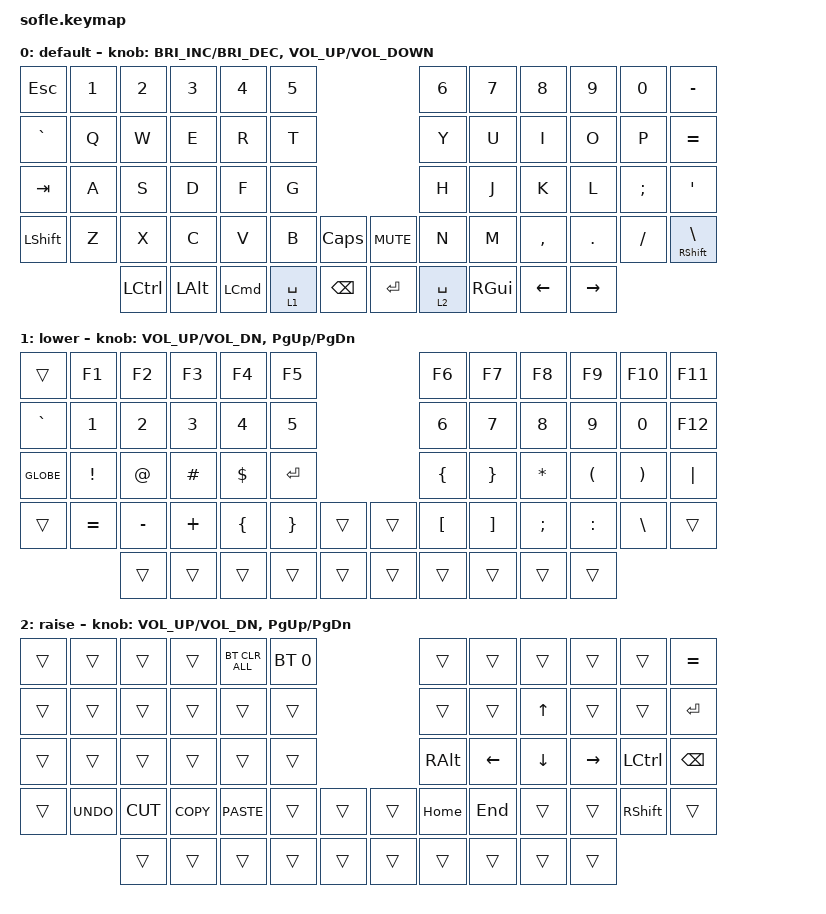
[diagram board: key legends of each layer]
/*
 * Copyright (c) 2020 The ZMK Contributors
 *
 * SPDX-License-Identifier: MIT
 */

#include <behaviors.dtsi>
#include <dt-bindings/zmk/bt.h>
#include <dt-bindings/zmk/keys.h>

#define BASE 0
#define LOWER 1
#define RAISE 2
#define ADJUST 3

/ {
    // Activate ADJUST layer by pressing raise and lower

    conditional_layers {
        compatible = "zmk,conditional-layers";

        adjust_layer {
            if-layers = <1 2>;
            then-layer = <3>;
        };
    };

    keymap {
        compatible = "zmk,keymap";

        default_layer {
            display-name = "default";

            // ------------------------------------------------------------------------------------------------------------
            // |   `   |  1  |  2  |  3   |  4   |  5   |                   |  6   |  7    |  8    |  9   |   0   |       |
            // |  ESC  |  Q  |  W  |  E   |  R   |  T   |                   |  Y   |  U    |  I    |  O   |   P   | BKSPC |
            // |  TAB  |  A  |  S  |  D   |  F   |  G   |                   |  H   |  J    |  K    |  L   |   ;   |   '   |
            // | SHIFT |  Z  |  X  |  C   |  V   |  B   |  MUTE  |  |       |  N   |  M    |  ,    |  .   |   /   | SHIFT |
            //               | GUI | ALT  | CTRL | LOWER|  ENTER |  | SPACE | RAISE| CTRL  | ALT   | GUI  |

            bindings = <
&kp ESC    &kp N1  &kp N2     &kp N3    &kp N4            &kp N5                                    &kp N6       &kp N7    &kp N8     &kp N9     &kp N0    &kp MINUS
&kp GRAVE  &kp Q   &kp W      &kp E     &kp R             &kp T                                     &kp Y        &kp U     &kp I      &kp O      &kp P     &kp EQUAL
&kp TAB    &kp A   &kp S      &kp D     &kp F             &kp G                                     &kp H        &kp J     &kp K      &kp L      &kp SEMI  &kp SQT
&kp LSHFT  &kp Z   &kp X      &kp C     &kp V             &kp B        &kp CAPSLOCK     &kp C_MUTE  &kp N        &kp M     &kp COMMA  &kp DOT    &kp FSLH  &mt RSHFT BACKSLASH
                   &kp LCTRL  &kp LALT  &kp LEFT_COMMAND  &lt 1 SPACE  &kp BACKSPACE    &kp ENTER   &lt 2 SPACE  &kp RGUI  &kp LEFT   &kp RIGHT
            >;

            sensor-bindings =
                <&inc_dec_kp C_BRIGHTNESS_INC C_BRIGHTNESS_DEC>,
                <&inc_dec_kp C_VOLUME_UP C_VOLUME_DOWN>;
        };

        lower_layer {
            display-name = "lower";

            // TODO: Some binds are waiting for shifted keycode support.
            // ------------------------------------------------------------------------------------------------------------
            // |       |  F1 |  F2 |  F3  |  F4  |  F5  |                   |  F6  |  F7   |  F8   |  F9  |  F10  |  F11  |
            // |   `   |  1  |  2  |  3   |  4   |  5   |                   |  6   |  7    |  8    |  9   |   0   |  F12  |
            // |       |  !  |  @  |  #   |  $   |  %   |                   |  ^   |  &    |  *    |  (   |   )   |   |   |
            // |       |  =  |  -  |  +   |  {   |  }   |        |  |       |  [   |  ]    |  ;    |  :   |   \   |       |
            //               |     |      |      |      |        |  |       |      |       |       |      |

            bindings = <
&trans     &kp F1     &kp F2     &kp F3    &kp F4    &kp F5                      &kp F6          &kp F7           &kp F8     &kp F9     &kp F10   &kp F11
&kp GRAVE  &kp N1     &kp N2     &kp N3    &kp N4    &kp N5                      &kp N6          &kp N7           &kp N8     &kp N9     &kp N0    &kp F12
&kp GLOBE  &kp EXCL   &kp AT     &kp HASH  &kp DLLR  &kp RET                     &kp LEFT_BRACE  &kp RIGHT_BRACE  &kp ASTRK  &kp LPAR   &kp RPAR  &kp PIPE
&trans     &kp EQUAL  &kp MINUS  &kp PLUS  &kp LBRC  &kp RBRC  &trans    &trans  &kp LBKT        &kp RBKT         &kp SEMI   &kp COLON  &kp BSLH  &trans
                      &trans     &trans    &trans    &trans    &trans    &trans  &trans          &trans           &trans     &trans
            >;

            sensor-bindings = <&inc_dec_kp C_VOL_UP C_VOL_DN &inc_dec_kp PG_UP PG_DN>;
        };

        raise_layer {
            display-name = "raise";

            // ------------------------------------------------------------------------------------------------------------
            // | BTCLR | BT1  | BT2  |  BT3  |  BT4  |  BT5 |                |      |      |       |      |       |       |
            // |       | INS  | PSCR | GUI   |       |      |                | PGUP |      |   ^   |      |       |       |
            // |       | ALT  | CTRL | SHIFT |       | CAPS |                | PGDN |   <- |   v   |  ->  |  DEL  | BKSPC |
            // |       | UNDO | CUT  | COPY  | PASTE |      |      |  |      |      |      |       |      |       |       |
            //                |      |       |       |      |      |  |      |      |      |       |      |

            bindings = <
&trans  &trans      &trans     &trans      &bt BT_CLR_ALL  &bt BT_SEL 0                    &trans         &trans    &trans    &trans     &trans            &kp EQUAL
&trans  &trans      &trans     &trans      &trans          &trans                          &trans         &trans    &kp UP    &trans     &trans            &kp RETURN
&trans  &trans      &trans     &trans      &trans          &trans                          &kp RIGHT_ALT  &kp LEFT  &kp DOWN  &kp RIGHT  &kp LEFT_CONTROL  &kp BSPC
&trans  &kp K_UNDO  &kp K_CUT  &kp K_COPY  &kp K_PASTE     &trans        &trans    &trans  &kp HOME       &kp END   &trans    &trans     &kp RIGHT_SHIFT   &trans
                    &trans     &trans      &trans          &trans        &trans    &trans  &trans         &trans    &trans    &trans
            >;

            sensor-bindings = <&inc_dec_kp C_VOL_UP C_VOL_DN &inc_dec_kp PG_UP PG_DN>;
        };
    };
};
